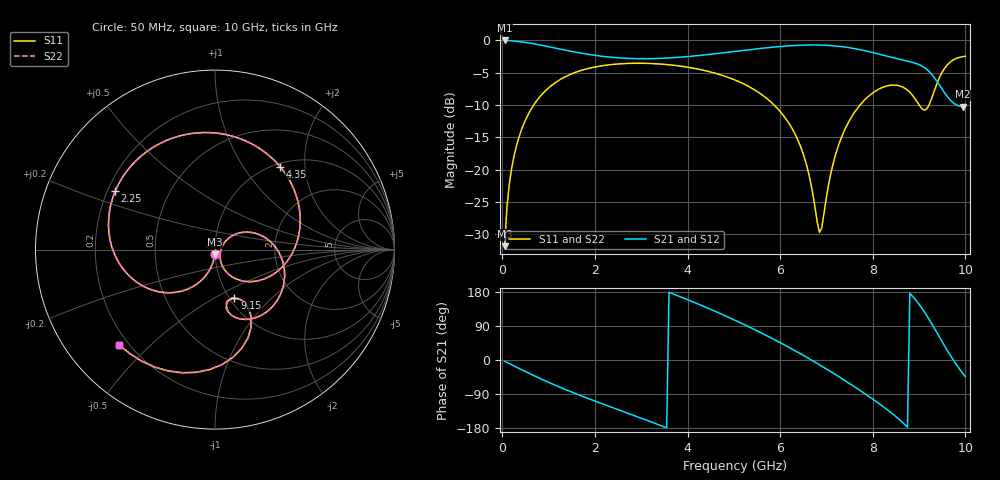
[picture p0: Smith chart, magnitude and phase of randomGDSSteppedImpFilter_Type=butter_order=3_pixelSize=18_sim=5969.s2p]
! freq	dB(S11)	phase(S11)	dB(S12)	phase(S12)
!  dB(S21)	phase(S21)	dB(S22)	phase(S22)
!S-par simulation data
#  GHz  S  DB  R 50
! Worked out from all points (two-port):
!   200 points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, 50 MHz to 10 GHz, reference 50 ohm
!   highest |S21| = -0.01 dB at 50 MHz (marker M1); lowest = -10.2 dB at 9.95 GHz (marker M2)
!   |S21| within 3 dB of the highest: start of sweep to 8.631 GHz
!   lowest |S11| = -31.8 dB at 50 MHz (marker M3), VSWR 1.05, Z = 49.8 - j2.55 ohm
!   |S11| at or under -10 dB: start of sweep to 678.4 MHz; 5.871 GHz to 7.725 GHz (1.854 GHz wide, 27.3 % of centre); 9.001 GHz to 9.213 GHz (211.6 MHz wide, 2.32 % of centre)
!   |S22| runs from -31.8 to -2.5 dB; largest |S21 - S12| = 0
!   S11 on the Smith chart (normalised r, x): 50 MHz: 1.00, -0.05; 2.25 GHz: 0.23, +0.26; 4.35 GHz: 1.06, +1.49; 9.15 GHz: 1.05, -0.62; 10 GHz: 0.16, -0.40
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0.05  -31.83 -93.2  -0.01 -3.2  -0.01 -3.2  -31.83 -93.2
0.2  -19.89 -102.9  -0.07 -12.5  -0.07 -12.5  -19.89 -102.9
0.5  -12.32 -121.2  -0.31 -30.6  -0.31 -30.6  -12.32 -121.2
1.05  -7.04 -152.2  -1.04 -61.7  -1.04 -61.7  -7.04 -152.2
1.75  -4.54 172.8  -2.03 -96.7  -2.03 -96.7  -4.54 172.7
2.25  -3.82 149.7  -2.53 -119.7  -2.53 -119.7  -3.82 149.7
3.4  -3.65 97.8  -2.78 -171.9  -2.78 -171.9  -3.65 97.8
4.35  -4.62 51.9  -2.26 141.5  -2.26 141.5  -4.62 51.8
5.05  -6.20 15.0  -1.68 103.5  -1.68 103.5  -6.20 14.9
5.85  -9.85 -30.2  -1.04 55.5  -1.04 55.5  -9.85 -30.3
6.4  -15.71 -60.0  -0.75 19.2  -0.75 19.2  -15.71 -60.1
6.7  -23.51 -62.7  -0.70 -1.8  -0.70 -1.8  -23.49 -62.7
6.85  -29.71 -19.2  -0.71 -12.7  -0.71 -12.7  -29.65 -19.2
7.2  -17.59 38.1  -0.86 -38.8  -0.86 -38.8  -17.59 37.9
7.6  -11.19 15.8  -1.26 -70.2  -1.26 -70.2  -11.19 15.6
8.35  -6.98 -39.5  -2.51 -134.6  -2.51 -134.6  -6.98 -39.8
8.8  -8.02 -72.9  -3.30 176.2  -3.30 176.2  -8.06 -73.3
9.15  -10.70 -68.2  -4.38 120.4  -4.38 120.4  -10.83 -68.2
9.5  -4.89 -74.8  -7.57 47.5  -7.57 47.5  -4.92 -74.5
9.7  -3.20 -98.8  -9.42 7.2  -9.42 7.2  -3.21 -98.6
9.95  -2.50 -129.3  -10.24 -36.4  -10.24 -36.4  -2.51 -129.2
10  -2.46 -135.4  -10.21 -44.1  -10.21 -44.1  -2.47 -135.3
